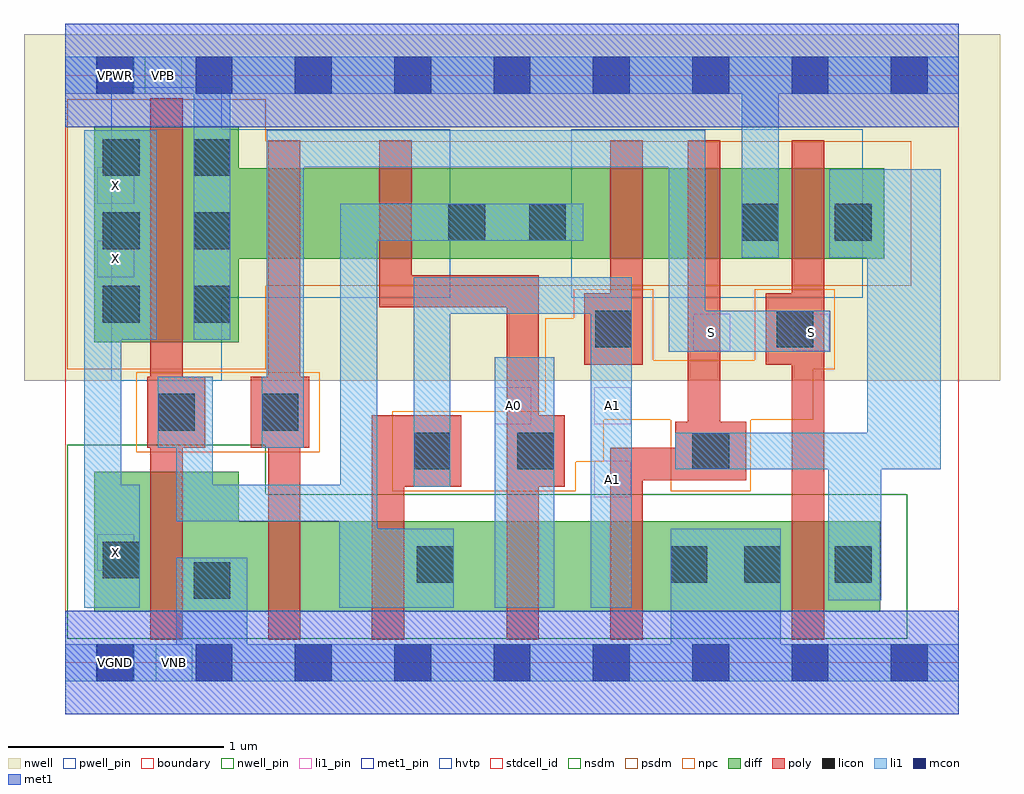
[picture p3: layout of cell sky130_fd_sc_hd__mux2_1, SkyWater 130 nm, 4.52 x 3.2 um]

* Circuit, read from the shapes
.subckt sky130_fd_sc_hd__mux2_1 A0 A1 S VGND VNB VPB VPWR X
XM1 VGND n1 X VNB sky130_fd_pr__nfet_01v8 w=0.65 l=0.15
XM2 n2 S VGND VNB sky130_fd_pr__nfet_01v8 w=0.42 l=0.15
XM3 n1 A1 n2 VNB sky130_fd_pr__nfet_01v8 w=0.42 l=0.15
XM4 n3 A0 n1 VNB sky130_fd_pr__nfet_01v8 w=0.42 l=0.15
XM5 VGND n4 n3 VNB sky130_fd_pr__nfet_01v8 w=0.42 l=0.15
XM6 n4 S VGND VNB sky130_fd_pr__nfet_01v8 w=0.42 l=0.15
XM7 VPWR n1 X VPB sky130_fd_pr__pfet_01v8_hvt w=1 l=0.15
XM8 n5 S VPWR VPB sky130_fd_pr__pfet_01v8_hvt w=0.42 l=0.15
XM9 n1 A0 n5 VPB sky130_fd_pr__pfet_01v8_hvt w=0.42 l=0.15
XM10 n6 A1 n1 VPB sky130_fd_pr__pfet_01v8_hvt w=0.42 l=0.15
XM11 VPWR n4 n6 VPB sky130_fd_pr__pfet_01v8_hvt w=0.42 l=0.15
XM12 n4 S VPWR VPB sky130_fd_pr__pfet_01v8_hvt w=0.42 l=0.15
.ends

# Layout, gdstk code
import gdstk
lib = gdstk.Library(unit=1e-6, precision=1e-09)
def R(c, l, rs):  # rectangles x0, y0, x1, y1
    for r in rs: c.add(gdstk.rectangle(r[:2], r[2:], *l))
def A(c, l, x, y, w, h, nx, ny, dx, dy):  # array of equal rectangles
    R(c, l, [(x+i*dx, y+j*dy, x+i*dx+w, y+j*dy+h) for i in range(nx) for j in range(ny)])
nwell_pin = (64, 16)
nwell = (64, 20)
diff = (65, 20)
poly = (66, 20)
licon = (66, 44)
li1_pin = (67, 16)
li1 = (67, 20)
mcon = (67, 44)
met1_pin = (68, 16)
met1 = (68, 20)
hvtp = (78, 44)
stdcell_id = (81, 4)
nsdm = (93, 44)
psdm = (94, 20)
npc = (95, 20)
pwell_pin = (122, 16)
boundary = (235, 4)

sky130_fd_sc_hd__mux2_1 = lib.new_cell('sky130_fd_sc_hd__mux2_1')
R(sky130_fd_sc_hd__mux2_1, nwell_pin, [(0.37,2.635,0.54,2.805)])
R(sky130_fd_sc_hd__mux2_1, nwell, [(-0.19,1.305,4.33,2.91)])
R(sky130_fd_sc_hd__mux2_1, diff, [(0.135,0.235,3.775,0.655), (0.135,0.655,0.805,0.885), (0.135,1.485,0.805,1.87), (0.135,1.87,3.795,2.29), (0.135,2.29,0.805,2.485)])
R(sky130_fd_sc_hd__mux2_1, poly, [(0.395,0.105,0.545,0.995), (0.94,0.105,1.09,0.995), (1.42,0.105,1.57,0.815), (2.045,0.105,2.195,0.815), (2.525,0.105,2.675,0.845), (3.365,0.105,3.515,1.38), (1.42,0.815,1.835,1.145), (2.045,0.815,2.315,1.145), (2.525,0.845,3.155,0.995), (0.38,0.995,0.65,1.325), (0.86,0.995,1.13,1.325), (2.825,0.995,3.155,1.115), (2.885,1.115,3.035,2.42), (2.045,1.145,2.195,1.645), (0.395,1.325,0.545,2.615), (0.94,1.325,1.09,2.42), (2.405,1.38,2.675,1.71), (3.245,1.38,3.515,1.71), (1.455,1.645,2.195,1.795), (2.525,1.71,2.675,2.42), (3.365,1.71,3.515,2.42), (1.455,1.795,1.605,2.42)])
A(sky130_fd_sc_hd__mux2_1, licon, 0.175, 1.575, 0.17, 0.17, 1, 3, 0, 0.34)
A(sky130_fd_sc_hd__mux2_1, licon, 0.595, 1.575, 0.17, 0.17, 1, 3, 0, 0.34)
R(sky130_fd_sc_hd__mux2_1, licon, [(0.595,0.295,0.765,0.465), (1.63,0.37,1.8,0.54), (2.805,0.37,2.975,0.54), (3.145,0.37,3.315,0.54), (3.565,0.37,3.735,0.54), (0.175,0.39,0.345,0.56), (1.615,0.895,1.785,1.065), (2.095,0.895,2.265,1.065), (2.905,0.895,3.075,1.065), (0.43,1.075,0.6,1.245), (0.91,1.075,1.08,1.245), (2.455,1.46,2.625,1.63), (3.295,1.46,3.465,1.63), (1.775,1.955,1.945,2.125), (2.15,1.955,2.32,2.125), (3.135,1.955,3.305,2.125), (3.565,1.955,3.735,2.125)])
R(sky130_fd_sc_hd__mux2_1, li1_pin, [(0.15,0.425,0.32,0.595), (2.45,0.765,2.62,0.935), (1.99,1.105,2.16,1.275), (2.45,1.105,2.62,1.275), (2.91,1.445,3.08,1.615), (3.37,1.445,3.54,1.615), (0.15,1.785,0.32,1.955), (0.15,2.125,0.32,2.295)])
R(sky130_fd_sc_hd__mux2_1, li1, [(0,-0.085,4.14,0.085), (0.515,0.085,0.845,0.485), (2.805,0.085,3.315,0.62), (0.09,0.255,0.345,0.825), (1.27,0.255,1.8,0.62), (1.99,0.255,2.265,1.415), (2.435,0.255,2.625,1.615), (3.535,0.29,3.78,0.895), (1.27,0.62,1.445,0.655), (0.515,0.655,1.445,0.825), (1.615,0.815,1.785,1.615), (0.09,0.825,0.26,1.495), (0.515,0.825,0.685,0.995), (1.275,0.825,1.445,1.955), (2.825,0.895,4.055,1.065), (0.43,0.995,0.685,1.325), (0.91,0.995,1.105,1.325), (3.715,1.065,4.055,1.875), (0.935,1.325,1.105,2.295), (2.795,1.44,3.545,1.63), (0.09,1.495,0.425,2.465), (0.595,1.495,0.765,2.635), (1.615,1.615,2.625,1.785), (2.795,1.63,2.965,2.295), (3.135,1.875,3.305,2.635), (3.54,1.875,4.055,2.285), (1.275,1.955,2.4,2.125), (0.935,2.295,2.965,2.465), (0,2.635,4.14,2.805)])
A(sky130_fd_sc_hd__mux2_1, mcon, 0.145, -0.085, 0.17, 0.17, 9, 2, 0.46, 2.72)
R(sky130_fd_sc_hd__mux2_1, met1_pin, [(0.15,-0.085,0.32,0.085), (0.15,2.635,0.32,2.805)])
R(sky130_fd_sc_hd__mux2_1, met1, [(0,-0.24,4.14,0.24), (0,2.48,4.14,2.96)])
R(sky130_fd_sc_hd__mux2_1, hvtp, [(0.215,1.305,0.725,1.69), (0.215,1.69,1.785,2.47), (2.345,1.69,3.695,2.47), (0.215,2.47,0.725,2.665)])
R(sky130_fd_sc_hd__mux2_1, stdcell_id, [(0,0,4.14,2.72)])
R(sky130_fd_sc_hd__mux2_1, nsdm, [(0.01,0.11,3.9,0.78), (0.01,0.78,0.93,1.01)])
R(sky130_fd_sc_hd__mux2_1, psdm, [(0.01,1.36,0.93,1.745), (0.01,1.745,3.92,2.415), (0.01,2.415,0.93,2.61)])
R(sky130_fd_sc_hd__mux2_1, npc, [(1.515,0.795,2.365,0.93), (2.805,0.795,3.175,1.125), (1.515,0.93,2.495,1.125), (0.33,0.975,1.18,1.345), (1.515,1.125,3.465,1.165), (2.225,1.165,3.465,1.36), (2.225,1.36,3.565,1.4), (2.225,1.4,2.725,1.595), (3.195,1.4,3.565,1.73), (2.355,1.595,2.725,1.73)])
R(sky130_fd_sc_hd__mux2_1, pwell_pin, [(0.42,-0.085,0.59,0.085)])
R(sky130_fd_sc_hd__mux2_1, boundary, [(0,0,4.14,2.72)])
sky130_fd_sc_hd__mux2_1.add(gdstk.Label('VGND', (0.235,0), layer=68, texttype=5))
sky130_fd_sc_hd__mux2_1.add(gdstk.Label('VPWR', (0.235,2.72), layer=68, texttype=5))
sky130_fd_sc_hd__mux2_1.add(gdstk.Label('VPB', (0.455,2.72), layer=64, texttype=5))
sky130_fd_sc_hd__mux2_1.add(gdstk.Label('VNB', (0.505,0), layer=64, texttype=59))
sky130_fd_sc_hd__mux2_1.add(gdstk.Label('X', (0.235,2.21), layer=67, texttype=5))
sky130_fd_sc_hd__mux2_1.add(gdstk.Label('X', (0.235,1.87), layer=67, texttype=5))
sky130_fd_sc_hd__mux2_1.add(gdstk.Label('X', (0.235,0.51), layer=67, texttype=5))
sky130_fd_sc_hd__mux2_1.add(gdstk.Label('A1', (2.535,1.19), layer=67, texttype=5))
sky130_fd_sc_hd__mux2_1.add(gdstk.Label('A1', (2.535,0.85), layer=67, texttype=5))
sky130_fd_sc_hd__mux2_1.add(gdstk.Label('S', (2.995,1.53), layer=67, texttype=5))
sky130_fd_sc_hd__mux2_1.add(gdstk.Label('S', (3.455,1.53), layer=67, texttype=5))
sky130_fd_sc_hd__mux2_1.add(gdstk.Label('A0', (2.075,1.19), layer=67, texttype=5))

lib.write_gds('sky130_fd_sc_hd__mux2_1.gds')
